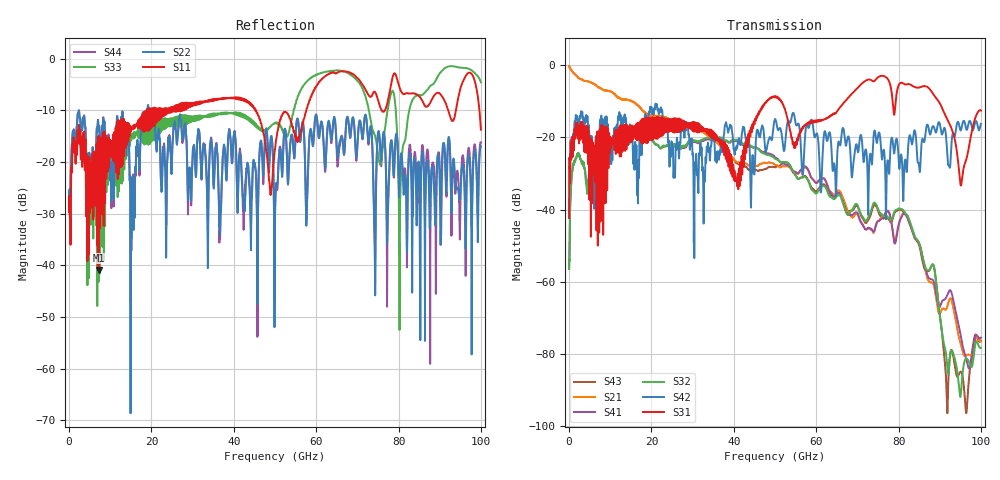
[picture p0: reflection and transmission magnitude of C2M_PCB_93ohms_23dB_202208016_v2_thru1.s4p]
! Info: Touchstone file created by Circ.  Input file=Intel_C2M_200G_9p0in_202208016_staggered.circ
# Hz S RI R 50
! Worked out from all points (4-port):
!   10000 points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, 10 MHz to 100 GHz, reference 50 ohm
!   strongest paths, dB at 10 MHz, 25.01 GHz, 50.01 GHz, 75.01 GHz, 100 GHz:
!     S31: -42.3, -16.9, -8.6, -3.4, -12.5
!     S42: -42.3, -24.3, -14.9, -19.7, -16.3
!     S32: -56.4, -22.0, -25.9, -39.8, -78.3
!     S41: -56.4, -22.2, -25.5, -43.2, -75.5
!     S21: -0.3, -15.2, -27.6, -43.2, -76.5
!     S43: -0.3, -15.2, -28.3, -40.3, -76.2
!   lowest |S11| = -40.9 dB at 7.15 GHz (marker M1), VSWR 1.02, Z = 50.3 - j0.856 ohm
!   |S11| at or under -10 dB: start of sweep to 19.08 GHz; 45.42 GHz to 57.58 GHz (12.17 GHz wide, 23.6 % of centre); 92.07 GHz to 93.94 GHz (1.876 GHz wide, 2.02 % of centre)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
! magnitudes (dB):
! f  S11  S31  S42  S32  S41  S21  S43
! 10 MHz  -29.7  -42.3  -42.3  -56.4  -56.4  -0.3  -0.3
! 1.35 GHz  -16.7  -17.7  -15.5  -26.7  -26.7  -2.5  -2.5
! 7.15 GHz  -40.9  -18.3  -19.3  -22.1  -22.3  -6.1  -6.1
! 65.15 GHz  -2.7  -12.7  -24.1  -36.1  -35.3  -34.7  -35.6
! 80.73 GHz  -6.4  -4.9  -25.2  -39.9  -42.0  -41.8  -40.2
! 95.16 GHz  -5.4  -33.3  -18.0  -90.8  -75.3  -77.4  -84.9
! 100 GHz  -13.7  -12.5  -16.3  -78.3  -75.5  -76.5  -76.2
